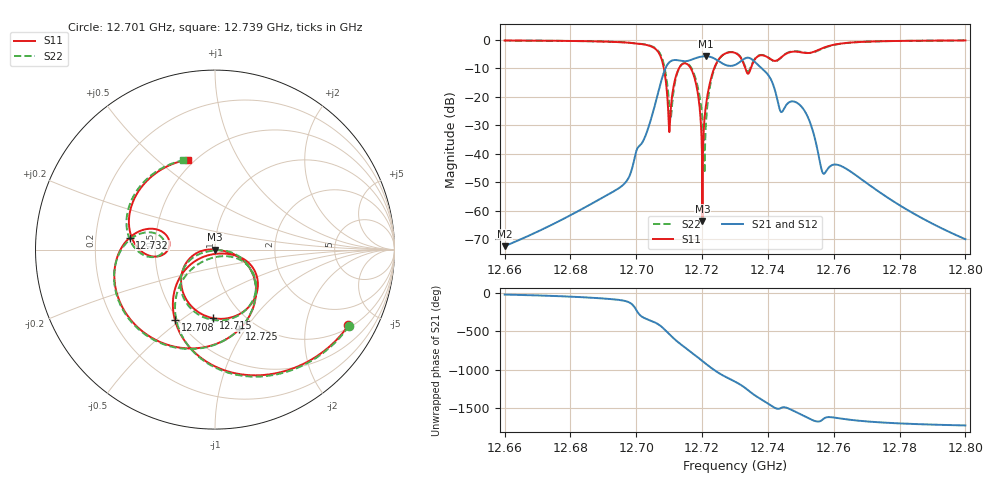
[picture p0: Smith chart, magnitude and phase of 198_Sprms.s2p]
! TOUCHSTONE file generated by CST MICROWAVE STUDIO
! Date and time: Wed Jul 31 20:56:40 2024
! Project name: WaveGuide_BPF-Ver4.1_U-shape_Ku_T3_C4_CWA_2.cst
! Parameters = {cavity_h=16; cavity_l0=10; cavity_l1=15.2225; cavity_l2=16.8311; cavity_l3=17.1163; cavity_l4=17.2651; cavity_l5=17.1517; cavity_l6=17.639; cavity_r=2.5; cavity_screw_l=0.5; cavity_screw_r=1.5; cavity_w=8; iris_h00=0; iris_h01=8.798; iris_h112=0; iris_h12=5.602; iris_h211=3.6617; iri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
! Header version: 2018
! Port assignment regex: !\s*Touchstone port\s*([0-9]+)\s*=\s*(CST MWS port|CST DS port)\s*([0-9]+|Zmin|Zmax)\s*\(\"(.*)\"\)(\s*mode\s*([0-9]+))?.*
! Touchstone port assignment:
! Touchstone port 1 = CST MWS port 1 ("")
! Touchstone port 2 = CST MWS port 2 ("")
# GHz S RI R 50
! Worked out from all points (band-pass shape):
!   5001 points, 12.66 GHz to 12.8 GHz, reference 50 ohm
!   highest |S21| = -5.71 dB at 12.721 GHz (marker M1); lowest = -72.5 dB at 12.66 GHz (marker M2)
!   |S21| within 3 dB of the highest: 12.70943 GHz to 12.72701 GHz (17.58 MHz wide, 0.138 % of centre); 12.73011 GHz to 12.73696 GHz (6.843 MHz wide, 0.0537 % of centre)
!   lowest |S11| = -63.7 dB at 12.72 GHz (marker M3), VSWR 1.00, Z = 50.1 + j0.0142 ohm
!   |S11| at or under -10 dB: 12.7084 GHz to 12.71296 GHz (4.561 MHz wide, 0.0359 % of centre); 12.71658 GHz to 12.72365 GHz (7.068 MHz wide, 0.0556 % of centre); 12.73313 GHz to 12.73479 GHz (1.664 MHz wide, 0.0131 % of centre)
!   |S22| runs from -46.8 to -0.2 dB; largest |S21 - S12| = 1.4e-09
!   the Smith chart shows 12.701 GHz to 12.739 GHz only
!   S11 on the Smith chart (normalised r, x): 12.701 GHz: 1.10, -3.45; 12.708 GHz: 0.48, -0.48; 12.715 GHz: 0.73, -0.65; 12.725 GHz: 0.83, -0.94; 12.732 GHz: 0.35, +0.06; 12.739 GHz: 0.46, +0.64
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12.66  0.3327 0.922  0.000218 -9.69e-05  0.000218 -9.69e-05  0.3413 0.9188
12.68335  0.7591 0.5815  0.000561 -0.000899  0.000561 -0.000899  0.766 0.5725
12.70099  0.7424 -0.4227  0.00356 0.0133  0.00356 0.0133  0.7462 -0.4249
12.70668  -0.0666 -0.6116  0.0767 -0.0924  0.0767 -0.0924  -0.027 -0.6423
12.70774  -0.223 -0.3935  0.0219 -0.2033  0.0219 -0.2033  -0.1961 -0.4545
12.71015  0.0153 -0.0226  -0.4098 0.0286  -0.4098 0.0286  -0.0305 -0.0507
12.7153  -0.0114 -0.3816  0.4233 -0.0508  0.4233 -0.0508  -0.0139 -0.3915
12.72012  0.000637 0.000141  -0.5035 -0.1022  -0.5035 -0.1022  -0.0399 -0.0105
12.7211  0.0647 -0.0114  -0.482 0.1898  -0.482 0.1898  0.0276 -0.00371
12.72513  0.1358 -0.4436  0.3445 0.2432  0.3445 0.2432  0.1413 -0.4376
12.73  -0.5537 -0.2161  0.0975 -0.3511  0.0975 -0.3511  -0.5523 -0.2365
12.73182  -0.475 0.0671  -0.2046 -0.3719  -0.2046 -0.3719  -0.4885 0.0424
12.73568  -0.4224 0.00163  -0.2003 0.3808  -0.2003 0.3808  -0.4351 -0.00367
12.73916  -0.1485 0.5019  0.2559 0.1136  0.2559 0.1136  -0.1808 0.4972
12.7421  0.4291 0.00461  0.0771 -0.1092  0.0771 -0.1092  0.4205 0.0272
12.74459  -0.0991 -0.5179  0.0387 -0.0426  0.0387 -0.0426  -0.0899 -0.5208
12.74828  -0.5912 0.2027  -0.0197 -0.0792  -0.0197 -0.0792  -0.6164 0.1663
12.75335  0.5418 0.2678  -0.0246 0.015  -0.0246 0.015  0.4973 0.3294
12.75668  0.4922 -0.5291  -0.00414 0.00198  -0.00414 0.00198  0.5118 -0.4904
12.76013  -0.0183 -0.8267  -0.00647 0.000149  -0.00647 0.000149  -0.00521 -0.8203
12.77668  -0.9253 -0.2411  -0.00056 0.00156  -0.00056 0.00156  -0.9277 -0.2319
12.8  -0.938 0.2881  7.52e-05 0.000306  7.52e-05 0.000306  -0.9356 0.2961
